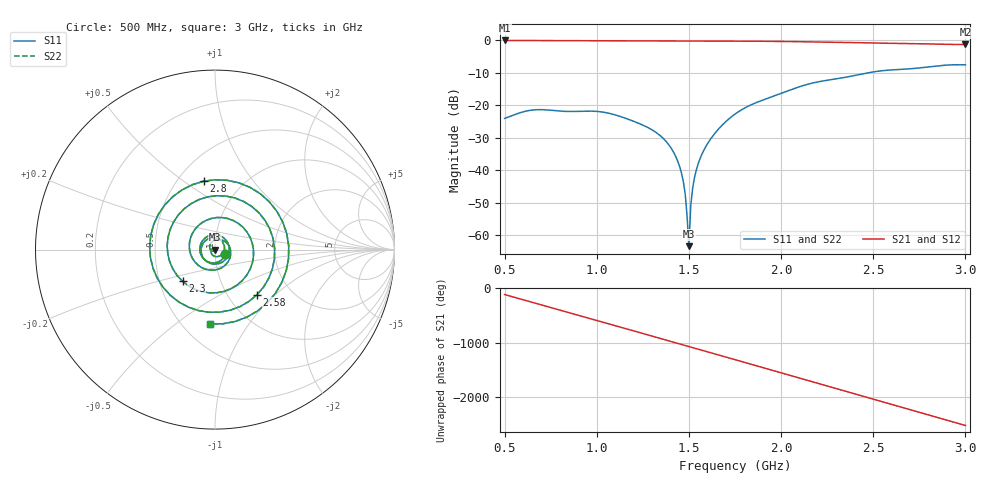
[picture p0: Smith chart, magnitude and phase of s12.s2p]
!freq-unit  param-type  data-format  keyword  impedance-ohms
# GHZ  S  RI  R  50
!Freq  ReS11  ImS11  ReS21  ImS21  ReS12  ImS12  ReS22  ImS22
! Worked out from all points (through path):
!   251 points, 500 MHz to 3 GHz, reference 50 ohm
!   highest |S21| = -0.17 dB at 500 MHz (marker M1); lowest = -1.4 dB at 3 GHz (marker M2)
!   group delay of S21, straight-line fit = 2.68 ns
!   lowest |S11| = -63.3 dB at 1.5 GHz (marker M3), VSWR 1.00, Z = 50 - j0.0535 ohm
!   |S11| at or under -10 dB: start of sweep to 2.481 GHz
!   |S22| runs from -63.3 to -7.6 dB; largest |S21 - S12| = 0
!   S11 on the Smith chart (normalised r, x): 500 MHz: 1.12, -0.06; 2.3 GHz: 0.66, -0.25; 2.58 GHz: 1.36, -0.77; 2.8 GHz: 0.67, +0.60; 3 GHz: 0.68, -0.68
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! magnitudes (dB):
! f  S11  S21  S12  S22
! 500 MHz  -24.1  -0.2  -0.2  -24.1
! 660 MHz  -21.5  -0.2  -0.2  -21.5
! 920 MHz  -21.9  -0.2  -0.2  -21.9
! 1.11 GHz  -23.2  -0.3  -0.3  -23.2
! 1.34 GHz  -29.2  -0.3  -0.3  -29.2
! 1.41 GHz  -33.8  -0.3  -0.3  -33.8
! 1.46 GHz  -40.9  -0.3  -0.3  -40.9
! 1.48 GHz  -47.3  -0.3  -0.3  -47.3
! 1.49 GHz  -54.1  -0.3  -0.3  -54.1
! 1.5 GHz  -63.3  -0.3  -0.3  -63.3
! 1.51 GHz  -50.8  -0.3  -0.3  -50.8
! 1.52 GHz  -45.6  -0.3  -0.3  -45.6
! 1.55 GHz  -38.0  -0.3  -0.3  -38.0
! 1.63 GHz  -29.4  -0.3  -0.3  -29.4
! 1.75 GHz  -22.8  -0.4  -0.4  -22.8
! 1.87 GHz  -19.1  -0.4  -0.4  -19.1
! 2.17 GHz  -13.2  -0.6  -0.6  -13.2
! 2.3 GHz  -11.9  -0.7  -0.7  -11.9
! 2.58 GHz  -9.3  -1.0  -1.0  -9.3
! 2.59 GHz  -9.2  -1.0  -1.0  -9.2
! 2.8 GHz  -8.3  -1.2  -1.2  -8.3
! 3 GHz  -7.6  -1.4  -1.4  -7.6
